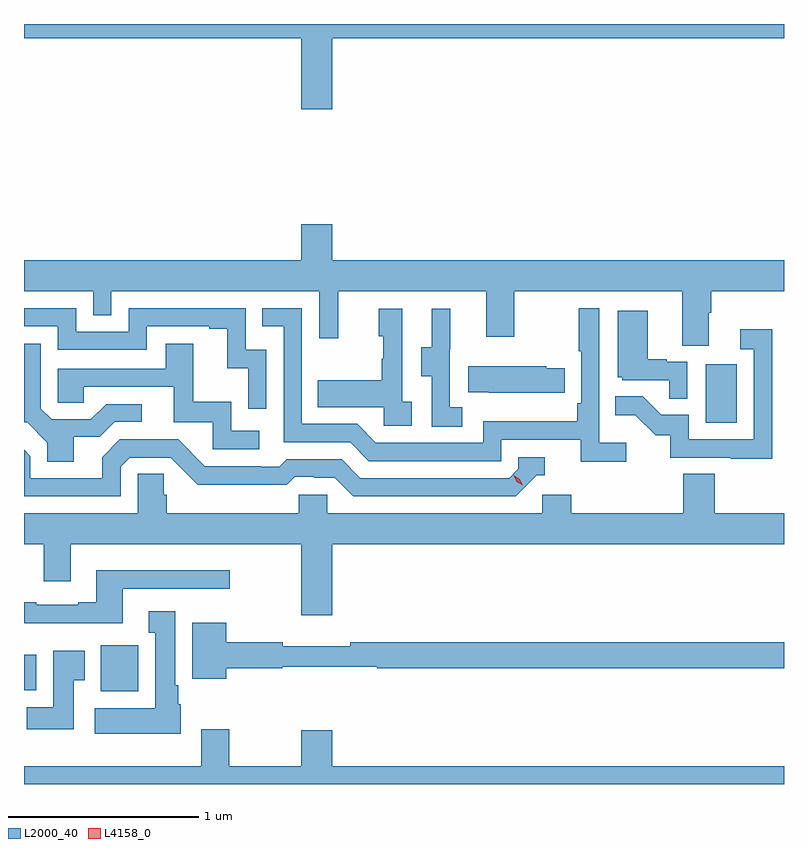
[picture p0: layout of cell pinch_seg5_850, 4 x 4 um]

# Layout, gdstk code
import gdstk
lib = gdstk.Library(unit=1e-6, precision=1e-09)
def R(c, l, rs):  # rectangles x0, y0, x1, y1
    for r in rs: c.add(gdstk.rectangle(r[:2], r[2:], *l))
def P(c, l, *ps):  # polygons
    for p in ps: c.add(gdstk.Polygon(p, *l))
L2000_40 = (2000, 40)
L4158_0 = (4158, 0)

pinch_seg5_850 = lib.new_cell('pinch_seg5_850')
R(pinch_seg5_850, L2000_40, [(847.271,875.966,847.468,876.208), (846.866,875.972,846.931,876.16), (850.454,877.38,850.618,877.687)])
P(pinch_seg5_850, L2000_40, [(848.488,879.404),(850.866,879.404),(850.866,879.479),(846.866,879.479),(846.866,879.404),(848.324,879.404),(848.324,879.03),(848.488,879.03)],
  [(850.471,877.96),(850.484,877.96),(850.484,878.072),(850.866,878.072),(850.866,878.236),(848.488,878.236),(848.488,878.425),(848.324,878.425),(848.324,878.236),(846.866,878.236),(846.866,878.072),(847.23,878.072),(847.23,877.945),(847.326,877.945),(847.326,878.072),(848.421,878.072),(848.421,877.824),(848.519,877.824),(848.519,878.072),(849.299,878.072),(849.299,877.833),(849.447,877.833),(849.447,878.072),(850.331,878.072),(850.331,877.786),(850.471,877.786)],
  [(850.036,877.276),(849.894,877.276),(849.894,877.984),(849.786,877.984),(849.786,877.756),(849.798,877.756),(849.798,877.483),(849.778,877.483),(849.778,877.387),(849.282,877.387),(849.282,877.275),(848.718,877.275),(848.619,877.374),(848.328,877.374),(848.328,877.983),(848.119,877.983),(848.119,877.887),(848.232,877.887),(848.232,877.278),(848.582,877.278),(848.681,877.179),(849.378,877.179),(849.378,877.29),(849.797,877.29),(849.797,877.174),(850.036,877.174)],
  [(848.142,877.764),(848.034,877.764),(848.034,877.983),(847.416,877.983),(847.416,877.86),(847.14,877.86),(847.14,877.983),(846.866,877.983),(846.866,877.887),(847.044,877.887),(847.044,877.764),(847.512,877.764),(847.512,877.887),(847.841,877.887),(847.841,877.875),(847.937,877.875),(847.937,877.667),(848.046,877.667),(848.046,877.455),(848.142,877.455)],
  [(849.172,877.463),(849.108,877.463),(849.108,877.767),(849.11,877.767),(849.11,877.981),(849.011,877.981),(849.011,877.779),(848.957,877.779),(848.957,877.624),(849.012,877.624),(849.012,877.36),(849.172,877.36)],
  [(848.908,877.49),(848.856,877.49),(848.856,877.981),(848.732,877.981),(848.732,877.836),(848.758,877.836),(848.758,877.718),(848.748,877.718),(848.748,877.603),(848.413,877.603),(848.413,877.463),(848.76,877.463),(848.76,877.365),(848.908,877.365)],
  [(850.356,877.701),(850.25,877.701),(850.25,877.714),(850.15,877.714),(850.15,877.969),(849.992,877.969),(849.992,877.62),(850.014,877.62),(850.014,877.605),(850.261,877.605),(850.261,877.507),(850.356,877.507)],
  [(850.803,877.873),(850.635,877.873),(850.635,877.767),(850.707,877.767),(850.707,877.293),(850.365,877.293),(850.365,877.422),(850.221,877.422),(850.123,877.52),(849.979,877.52),(849.979,877.421),(850.083,877.421),(850.19,877.314),(850.267,877.314),(850.267,877.197),(850.585,877.197),(850.585,877.192),(850.803,877.192)],
  [(848.104,877.338),(847.956,877.338),(847.956,877.492),(847.757,877.492),(847.757,877.795),(847.613,877.795),(847.613,877.665),(847.044,877.665),(847.044,877.485),(847.181,877.485),(847.181,877.569),(847.655,877.569),(847.655,877.383),(847.86,877.383),(847.86,877.242),(848.104,877.242)],
  [(847.129,877.306),(847.264,877.306),(847.344,877.386),(847.486,877.386),(847.486,877.479),(847.298,877.479),(847.217,877.398),(847.011,877.398),(846.954,877.455),(846.954,877.795),(846.866,877.795),(846.866,877.383),(846.882,877.383),(846.989,877.276),(846.989,877.174),(847.129,877.174)],
  [(849.713,877.668),(849.615,877.668),(849.615,877.678),(849.205,877.678),(849.205,877.541),(849.313,877.541),(849.313,877.538),(849.713,877.538)],
  [(847.374,877.149),(847.422,877.197),(847.638,877.197),(847.78,877.055),(848.016,877.055),(848.016,877.053),(848.249,877.053),(848.291,877.095),(848.394,877.095),(848.394,877.092),(848.501,877.092),(848.6,876.993),(849.453,876.993),(849.564,877.104),(849.607,877.104),(849.607,877.2),(849.468,877.2),(849.468,877.137),(849.42,877.089),(848.637,877.089),(848.538,877.188),(848.249,877.188),(848.21,877.149),(848.111,877.149),(848.111,877.152),(847.818,877.152),(847.677,877.293),(847.371,877.293),(847.277,877.199),(847.277,877.089),(846.9,877.089),(846.9,877.203),(846.866,877.237),(846.866,876.993),(847.374,876.993)],
  [(850.866,876.904),(850.502,876.904),(850.502,877.112),(850.337,877.112),(850.337,876.904),(849.746,876.904),(849.746,877.002),(849.594,877.002),(849.594,876.904),(848.463,876.904),(848.463,877.002),(848.313,877.002),(848.313,876.904),(847.616,876.904),(847.616,877.002),(847.601,877.002),(847.601,877.112),(847.464,877.112),(847.464,876.904),(846.866,876.904),(846.866,876.74),(846.971,876.74),(846.971,876.546),(847.111,876.546),(847.111,876.74),(848.324,876.74),(848.324,876.366),(848.488,876.366),(848.488,876.74),(850.866,876.74)],
  [(847.387,876.507),(847.948,876.507),(847.948,876.604),(847.247,876.604),(847.247,876.436),(847.151,876.436),(847.151,876.423),(846.931,876.423),(846.931,876.436),(846.866,876.436),(846.866,876.326),(847.387,876.326)],
  [(847.69,875.898),(847.678,875.898),(847.678,875.998),(847.663,875.998),(847.663,876.388),(847.523,876.388),(847.523,876.275),(847.556,876.275),(847.556,875.878),(847.239,875.878),(847.239,875.744),(847.69,875.744)],
  [(847.93,876.088),(848.226,876.088),(848.226,876.096),(848.726,876.096),(848.726,876.088),(850.866,876.088),(850.866,876.224),(848.584,876.224),(848.584,876.205),(848.228,876.205),(848.228,876.224),(847.93,876.224),(847.93,876.328),(847.751,876.328),(847.751,876.032),(847.93,876.032)],
  [(847.129,876.025),(847.186,876.025),(847.186,876.181),(847.019,876.181),(847.019,875.884),(846.88,875.884),(846.88,875.766),(847.129,875.766)],
  [(850.866,875.572),(848.488,875.572),(848.488,875.761),(848.324,875.761),(848.324,875.572),(847.947,875.572),(847.947,875.767),(847.799,875.767),(847.799,875.572),(846.866,875.572),(846.866,875.479),(850.866,875.479)])
P(pinch_seg5_850, L4158_0, [(849.491,877.051),(849.46,877.07),(849.444,877.103),(849.444,877.103),(849.444,877.103),(849.475,877.084),(849.492,877.051),(849.492,877.051)])

lib.write_gds('pinch_seg5_850.gds')
